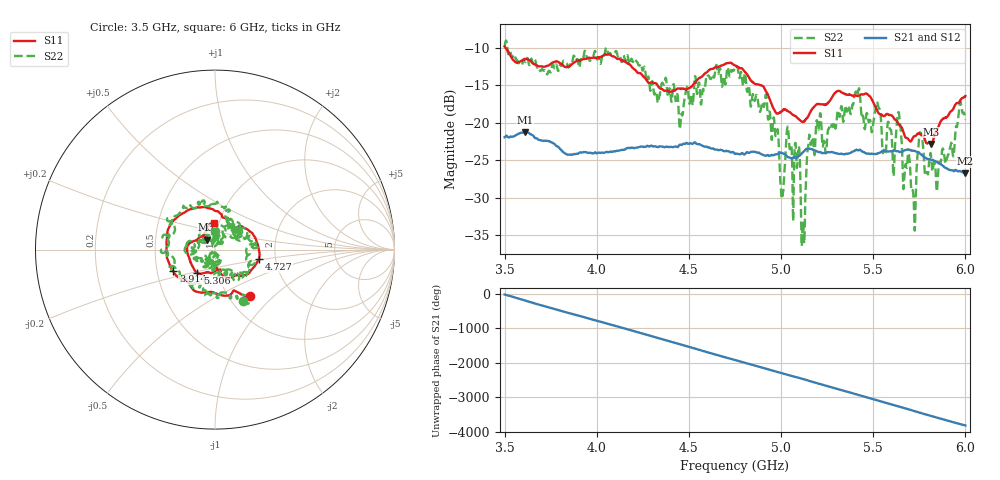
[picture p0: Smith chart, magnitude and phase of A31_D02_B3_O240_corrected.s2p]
! Created with skrf 1.9.0 (http://scikit-rf.org).
# Hz S RI R 50.0
!freq ReS11 ImS11 ReS21 ImS21 ReS12 ImS12 ReS22 ImS22
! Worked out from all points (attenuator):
!   1601 points, 3.5 GHz to 6 GHz, reference 50 ohm
!   highest |S21| = -21.26 dB at 3.611 GHz (marker M1); lowest = -26.7 dB at 6 GHz (marker M2)
!   lowest |S11| = -22.8 dB at 5.814 GHz (marker M3), VSWR 1.16, Z = 45.3 + j4.98 ohm
!   |S11| at or under -10 dB: 3.505 GHz to end of sweep
!   |S22| runs from -36.5 to -9.0 dB; largest |S21 - S12| = 0.00099
!   S11 on the Smith chart (normalised r, x): 3.5 GHz: 1.25, -0.72; 3.914 GHz: 0.61, -0.16; 4.727 GHz: 1.64, -0.19; 5.306 GHz: 0.80, -0.21; 6 GHz: 0.94, +0.29
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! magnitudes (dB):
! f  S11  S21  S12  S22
! 3.5 GHz  -9.8  -21.9  -21.9  -9.8
! 3.611 GHz  -11.5  -21.3  -21.3  -11.8
! 3.914 GHz  -11.6  -24.0  -23.9  -11.5
! 3.917 GHz  -11.6  -24.0  -24.0  -11.4
! 4.334 GHz  -15.2  -23.2  -23.2  -17.2
! 4.456 GHz  -15.5  -23.0  -22.9  -19.4
! 4.727 GHz  -12.0  -24.0  -23.9  -13.3
! 4.75 GHz  -12.4  -24.2  -24.1  -13.1
! 4.925 GHz  -16.1  -24.3  -24.3  -18.0
! 5.005 GHz  -18.4  -24.0  -24.0  -29.6
! 5.036 GHz  -18.5  -24.6  -24.5  -20.5
! 5.088 GHz  -19.3  -24.6  -24.6  -25.8
! 5.119 GHz  -19.9  -24.0  -23.9  -33.2
! 5.167 GHz  -18.2  -23.5  -23.5  -22.4
! 5.306 GHz  -15.8  -24.1  -24.0  -18.5
! 5.414 GHz  -16.4  -23.6  -23.7  -16.0
! 5.584 GHz  -19.0  -23.8  -23.8  -20.0
! 5.641 GHz  -20.3  -23.9  -23.8  -18.9
! 5.719 GHz  -21.9  -23.8  -23.7  -30.1
! 5.755 GHz  -21.5  -24.1  -24.1  -21.3
! 5.814 GHz  -22.8  -25.0  -24.9  -24.6
! 6 GHz  -16.5  -26.7  -26.7  -19.6
